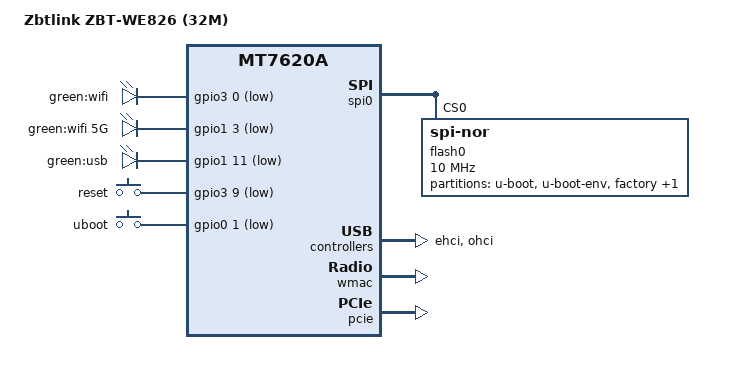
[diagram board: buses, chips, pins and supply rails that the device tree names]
#include "mt7620a.dtsi"

#include <dt-bindings/gpio/gpio.h>
#include <dt-bindings/input/input.h>
#include <dt-bindings/leds/common.h>

/ {
	compatible = "zbtlink,zbt-we826-32m", "ralink,mt7620a-soc";
	model = "Zbtlink ZBT-WE826 (32M)";

	chosen {
		bootargs = "console=ttyS0,115200";
	};

	pinctrl {
		state_default: pinctrl0 {
			gpio {
				ralink,group = "wled", "jtag";
				ralink,function = "gpio";
			};
		};
	};

	leds {
		compatible = "gpio-leds";

		air {
			label = "green:wifi";
			gpios = <&gpio3 0 GPIO_ACTIVE_LOW>;
			linux,default-trigger = "phy0tx";
		};

		air_5G {
			label = "green:wifi 5G";
			gpios = <&gpio1 3 GPIO_ACTIVE_LOW>;
			linux,default-trigger = "phy1tx";
		};

		usb {
			label = "green:usb";
			gpios = <&gpio1 11 GPIO_ACTIVE_LOW>;
			linux,default-trigger = "usbport";
			trigger-sources = <&ohci_port1>, <&ehci_port1>;
		};
	};

	keys {
		compatible = "gpio-keys";

		reset {
			label = "reset";
			gpios = <&gpio3 9 GPIO_ACTIVE_LOW>;
			linux,code = <KEY_RESTART>;
		};

		uboot {
			label = "uboot";
			gpios = <&gpio0 1 GPIO_ACTIVE_LOW>;
			linux,code = <KEY_RESTART>;
		};
	};
};

&spi0 {
	status = "okay";

	flash0: flash@0 {
		compatible = "jedec,spi-nor";
		reg = <0>;
		spi-max-frequency = <10000000>;
		broken-flash-reset;
		m25p,fast-read;

		partitions {
			compatible = "fixed-partitions";
			#address-cells = <1>;
			#size-cells = <1>;

			partition@0 {
				label = "u-boot";
				reg = <0x0 0x30000>;
				read-only;
			};

			partition@30000 {
				label = "u-boot-env";
				reg = <0x30000 0x10000>;
				read-only;
			};

			partition@40000 {
				label = "factory";
				reg = <0x40000 0x10000>;
				read-only;

				nvmem-layout {
					compatible = "fixed-layout";
					#address-cells = <1>;
					#size-cells = <1>;

					eeprom_factory_0: eeprom@0 {
						reg = <0x0 0x200>;
					};

					macaddr_factory_4: macaddr@4 {
						reg = <0x4 0x6>;
					};
				};
			};

			firmware: partition@50000 {
				compatible = "denx,uimage";
				label = "firmware";
				reg = <0x50000 0x1fb0000>;
			};
		};
	};
};

&ehci {
	status = "okay";
};

&ohci {
	status = "okay";
};

&ethernet {
	nvmem-cells = <&macaddr_factory_4>;
	nvmem-cell-names = "mac-address";
	mediatek,portmap = "llllw";
};

&wmac {
	nvmem-cells = <&eeprom_factory_0>;
	nvmem-cell-names = "eeprom";
};

&pcie {
	status = "okay";
};

&pcie0 {
	wifi@0,0 {
		reg = <0x0000 0 0 0 0>;
		reset-gpios = <&gpio1 4 GPIO_ACTIVE_LOW>;
		reset-assert-us = <150000>;
		reset-deassert-us = <300000>;
	};
};

&gpio1 {
	status = "okay";
};

&gpio2 {
	status = "okay";
};

&gpio3 {
	status = "okay";
};
